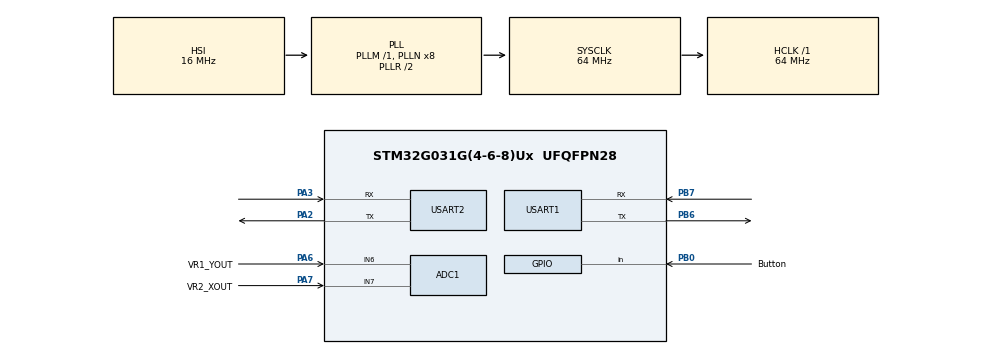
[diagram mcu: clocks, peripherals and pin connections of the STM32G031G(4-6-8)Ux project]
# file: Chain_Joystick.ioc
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ADC1.ContinuousConvMode=ENABLE
ADC1.DMAContinuousRequests=ENABLE
ADC1.NbrOfConversion=1
ADC1.NbrOfConversionFlag=0
ADC1.OversamplingMode=ENABLE
ADC1.Ratio=ADC_OVERSAMPLING_RATIO_256
ADC1.RightBitShift=ADC_RIGHTBITSHIFT_4
ADC1.SamplingTimeCommon1=ADC_SAMPLETIME_160CYCLES_5
ADC1.ScanConvMode=ADC_SCAN_SEQ_FIXED_BACKWARD
ADC1.SelectedChannel=ADC_CHANNEL_6|ADC_CHANNEL_7
ADC1.Sequencer=NOT_FULLY_CONFIGURABLE
ADC1.master=1
Dma.ADC1.4.Direction=DMA_PERIPH_TO_MEMORY
Dma.ADC1.4.EventEnable=DISABLE
Dma.ADC1.4.Instance=DMA1_Channel5
Dma.ADC1.4.MemDataAlignment=DMA_MDATAALIGN_WORD
Dma.ADC1.4.MemInc=DMA_MINC_ENABLE
Dma.ADC1.4.Mode=DMA_CIRCULAR
Dma.ADC1.4.PeriphDataAlignment=DMA_PDATAALIGN_WORD
Dma.ADC1.4.PeriphInc=DMA_PINC_DISABLE
Dma.ADC1.4.Polarity=HAL_DMAMUX_REQ_GEN_RISING
Dma.ADC1.4.Priority=DMA_PRIORITY_MEDIUM
Dma.ADC1.4.RequestNumber=1
Dma.ADC1.4.SignalID=NONE
Dma.ADC1.4.SyncEnable=DISABLE
Dma.ADC1.4.SyncPolarity=HAL_DMAMUX_SYNC_NO_EVENT
Dma.ADC1.4.SyncRequestNumber=1
Dma.ADC1.4.SyncSignalID=NONE
Dma.Request0=USART1_RX
Dma.Request1=USART1_TX
Dma.Request2=USART2_RX
Dma.Request3=USART2_TX
Dma.Request4=ADC1
Dma.USART1_RX.0.Direction=DMA_PERIPH_TO_MEMORY
Dma.USART1_RX.0.EventEnable=DISABLE
Dma.USART1_RX.0.Instance=DMA1_Channel1
Dma.USART1_RX.0.MemDataAlignment=DMA_MDATAALIGN_BYTE
Dma.USART1_RX.0.MemInc=DMA_MINC_ENABLE
Dma.USART1_RX.0.Mode=DMA_NORMAL
Dma.USART1_RX.0.PeriphDataAlignment=DMA_PDATAALIGN_BYTE
Dma.USART1_RX.0.PeriphInc=DMA_PINC_DISABLE
Dma.USART1_RX.0.Polarity=HAL_DMAMUX_REQ_GEN_RISING
Dma.USART1_RX.0.Priority=DMA_PRIORITY_LOW
Dma.USART1_RX.0.RequestNumber=1
Dma.USART1_RX.0.SignalID=NONE
Dma.USART1_RX.0.SyncEnable=DISABLE
Dma.USART1_RX.0.SyncPolarity=HAL_DMAMUX_SYNC_NO_EVENT
Dma.USART1_RX.0.SyncRequestNumber=1
Dma.USART1_RX.0.SyncSignalID=NONE
Dma.USART1_TX.1.Direction=DMA_MEMORY_TO_PERIPH
Dma.USART1_TX.1.EventEnable=DISABLE
Dma.USART1_TX.1.Instance=DMA1_Channel2
Dma.USART1_TX.1.MemDataAlignment=DMA_MDATAALIGN_BYTE
Dma.USART1_TX.1.MemInc=DMA_MINC_ENABLE
Dma.USART1_TX.1.Mode=DMA_NORMAL
Dma.USART1_TX.1.PeriphDataAlignment=DMA_PDATAALIGN_BYTE
Dma.USART1_TX.1.PeriphInc=DMA_PINC_DISABLE
Dma.USART1_TX.1.Polarity=HAL_DMAMUX_REQ_GEN_RISING
Dma.USART1_TX.1.Priority=DMA_PRIORITY_LOW
Dma.USART1_TX.1.RequestNumber=1
Dma.USART1_TX.1.SignalID=NONE
Dma.USART1_TX.1.SyncEnable=DISABLE
Dma.USART1_TX.1.SyncPolarity=HAL_DMAMUX_SYNC_NO_EVENT
Dma.USART1_TX.1.SyncRequestNumber=1
Dma.USART1_TX.1.SyncSignalID=NONE
Dma.USART2_RX.2.Direction=DMA_PERIPH_TO_MEMORY
Dma.USART2_RX.2.EventEnable=DISABLE
Dma.USART2_RX.2.Instance=DMA1_Channel3
Dma.USART2_RX.2.MemDataAlignment=DMA_MDATAALIGN_BYTE
Dma.USART2_RX.2.MemInc=DMA_MINC_ENABLE
Dma.USART2_RX.2.Mode=DMA_NORMAL
Dma.USART2_RX.2.PeriphDataAlignment=DMA_PDATAALIGN_BYTE
Dma.USART2_RX.2.PeriphInc=DMA_PINC_DISABLE
Dma.USART2_RX.2.Polarity=HAL_DMAMUX_REQ_GEN_RISING
Dma.USART2_RX.2.Priority=DMA_PRIORITY_LOW
Dma.USART2_RX.2.RequestNumber=1
Dma.USART2_RX.2.SignalID=NONE
Dma.USART2_RX.2.SyncEnable=DISABLE
Dma.USART2_RX.2.SyncPolarity=HAL_DMAMUX_SYNC_NO_EVENT
Dma.USART2_RX.2.SyncRequestNumber=1
Dma.USART2_RX.2.SyncSignalID=NONE
Dma.USART2_TX.3.Direction=DMA_MEMORY_TO_PERIPH
Dma.USART2_TX.3.EventEnable=DISABLE
Dma.USART2_TX.3.Instance=DMA1_Channel4
Dma.USART2_TX.3.MemDataAlignment=DMA_MDATAALIGN_BYTE
Dma.USART2_TX.3.MemInc=DMA_MINC_ENABLE
Dma.USART2_TX.3.Mode=DMA_NORMAL
Dma.USART2_TX.3.PeriphDataAlignment=DMA_PDATAALIGN_BYTE
Dma.USART2_TX.3.PeriphInc=DMA_PINC_DISABLE
Dma.USART2_TX.3.Polarity=HAL_DMAMUX_REQ_GEN_RISING
Dma.USART2_TX.3.Priority=DMA_PRIORITY_LOW
Dma.USART2_TX.3.RequestNumber=1
Dma.USART2_TX.3.SignalID=NONE
Dma.USART2_TX.3.SyncEnable=DISABLE
Dma.USART2_TX.3.SyncPolarity=HAL_DMAMUX_SYNC_NO_EVENT
Dma.USART2_TX.3.SyncRequestNumber=1
Dma.USART2_TX.3.SyncSignalID=NONE
IWDG.Prescaler=IWDG_PRESCALER_16
Mcu.Family=STM32G0
Mcu.Name=STM32G031G(4-6-8)Ux
Mcu.Package=UFQFPN28
NVIC.DMA1_Ch4_5_DMAMUX1_OVR_IRQn=true\:1\:0\:true\:false\:true\:false\:true\:true
NVIC.DMA1_Channel1_IRQn=true\:1\:0\:true\:false\:true\:false\:true\:true
NVIC.DMA1_Channel2_3_IRQn=true\:1\:0\:true\:false\:true\:false\:true\:true
NVIC.FLASH_IRQn=true\:1\:0\:true\:false\:true\:true\:true\:true
NVIC.TIM14_IRQn=true\:1\:0\:true\:false\:true\:true\:true\:true
NVIC.TIM16_IRQn=true\:1\:0\:true\:false\:true\:true\:true\:true
NVIC.TIM17_IRQn=true\:1\:0\:true\:false\:true\:true\:true\:true
NVIC.USART1_IRQn=true\:0\:0\:false\:false\:true\:false\:true\:true
NVIC.USART2_IRQn=true\:0\:0\:false\:false\:true\:false\:true\:true
PA2.GPIO_PuPd=GPIO_PULLUP
PA2.GPIO_Speed=GPIO_SPEED_FREQ_HIGH
PA2.Mode=Asynchronous
PA2.PinState=GPIO_PIN_RESET
PA2.Signal=USART2_TX
PA3.GPIO_PuPd=GPIO_PULLUP
PA3.GPIO_Speed=GPIO_SPEED_FREQ_HIGH
PA3.Mode=Asynchronous
PA3.PinState=GPIO_PIN_RESET
PA3.Signal=USART2_RX
PA6.GPIO_Label=VR1_YOUT
PA6.Mode=IN6
PA6.Signal=ADC1_IN6
PA7.GPIO_Label=VR2_XOUT
PA7.Mode=IN7
PA7.Signal=ADC1_IN7
PB0.GPIO_Label=Button
PB0.GPIO_PuPd=GPIO_PULLUP
PB0.Signal=GPIO_Input
PB6.GPIO_PuPd=GPIO_PULLUP
PB6.GPIO_Speed=GPIO_SPEED_FREQ_HIGH
PB6.Mode=Asynchronous
PB6.Signal=USART1_TX
PB7.GPIO_PuPd=GPIO_PULLUP
PB7.GPIO_Speed=GPIO_SPEED_FREQ_HIGH
PB7.Mode=Asynchronous
PB7.Signal=USART1_RX
ProjectManager.HeapSize=0x200
ProjectManager.StackSize=0x400
ProjectManager.TargetToolchain=STM32CubeIDE
RCC.ADCFreq_Value=64000000
RCC.AHBFreq_Value=64000000
RCC.CortexFreq_Value=64000000
RCC.EXTERNAL_CLOCK_VALUE=12288000
RCC.HCLKFreq_Value=64000000
RCC.HSE_VALUE=8000000
RCC.HSI_VALUE=16000000
RCC.LSE_VALUE=32768
RCC.PLLQ=RCC_PLLQ_DIV4
RCC.SYSCLKFreq_VALUE=64000000
RCC.SYSCLKSource=RCC_SYSCLKSOURCE_PLLCLK
RCC.VCOOutputFreq_Value=128000000
TIM14.AutoReloadPreload=TIM_AUTORELOAD_PRELOAD_ENABLE
TIM14.Period=1699
TIM14.Prescaler=6399
TIM16.Period=29999
TIM16.Prescaler=6399
TIM17.Period=9999
TIM17.Prescaler=6399
USART1.VirtualMode-Asynchronous=VM_ASYNC
USART2.VirtualMode-Asynchronous=VM_ASYNC
VP_IWDG_VS_IWDG.Mode=IWDG_Activate
VP_TIM14_VS_ClockSourceINT.Mode=Enable_Timer
VP_TIM16_VS_ClockSourceINT.Mode=Enable_Timer
VP_TIM17_VS_ClockSourceINT.Mode=Enable_Timer
board=custom

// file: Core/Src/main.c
/* USER CODE BEGIN Header */
/**
 ******************************************************************************
 * @file           : main.c
 * @brief          : Main program body
 ******************************************************************************
 * @attention
 *
 * Copyright (c) 2024 STMicroelectronics.
 * All rights reserved.
 *
 * This software is licensed under terms that can be found in the LICENSE file
 * in the root directory of this software component.
 * If no LICENSE file comes with this software, it is provided AS-IS.
 *
 ******************************************************************************
 */
/* USER CODE END Header */
#include "main.h"
#include "adc.h"
#include "dma.h"
#include "iwdg.h"
#include "tim.h"
#include "usart.h"
#include "gpio.h"

/* USER CODE BEGIN Includes */
#include "base_function.h"
#include "RGB.h"
#include "myflash.h"
#include "joystick_function.h"
#include "user_button.h"
/* USER CODE END Includes */

/* USER CODE BEGIN PV */
// DMA receive buffers
__IO uint8_t g_uart_in_rx_buf[UART_BUFFER_SIZE][BUFFER_SIZE * 2];   // uart_in receive buffer for DMA
__IO uint8_t g_uart_out_rx_buf[UART_BUFFER_SIZE][BUFFER_SIZE * 2];  // uart_out receive buffer for DMA

// Transmission status for UART
__IO uint8_t g_uart_in_rx_index  = 0;  // Index for UART input (receiving) buffer position
__IO uint8_t g_uart_out_rx_index = 0;  // Index for UART output (receiving) buffer position

// Transmission complete flags for UART
__IO uint8_t g_uart_in_transmit_complete  = 1;  // Flag indicating if uart_in transmission is complete (1: complete)
__IO uint8_t g_uart_out_transmit_complete = 1;  // Flag indicating if uart_out transmission is complete (1: complete)

// Command buffer and related variables
__IO uint8_t g_cmd_buf[BUFFER_SIZE] = {0};                    // Command buffer initialized to zero
__IO uint8_t g_cmd_size             = 0;                      // Size of the command currently in the buffer
__IO uint8_t g_cmd_status           = CMD_SPACE_IDLE_STATUS;  // Status of the command processing

// Device status variables
__IO uint8_t g_tail_status        = CHAIN_TAIL_DEVICE;  // Status of the tail device in the chain
__IO uint8_t g_heart_beat_record  = 0;                  // Heartbeat record for monitoring device status
__IO uint8_t g_bootloader_version = 0;                  // Version of the bootloader
__IO uint8_t g_firmware_version   = SOFTWARE_VERSION;   // Version of the firmware

// Device type information
__IO uint16_t g_device_type =
    (uint8_t)((PRODUCT_TYPE_HIGH << 8) | PRODUCT_TYPE_LOW);  // Combined product type from high and low bytes
__IO uint8_t g_light = 0;                                    // Light status or value

__IO static uint16_t s_adc_map_range_df_value[8] = {5000, 32000, 36000, 64500,
                                                    5000, 30000, 34000, 58500};  // Default values for ADC mapping range

extern __IO uint16_t g_flash_data[12];          // Data read from Flash memory
extern __IO uint16_t g_adc_map_range_value[8];  // Current ADC mapping range values
extern adc_cal_t g_adc_cal_value;               // Structure for storing ADC calibration values

__IO uint8_t g_key_flag = 0;

__IO uint8_t g_uid[12] = {0};  // Unique identifier

/* USER CODE END PV */

void SystemClock_Config(void);

/* USER CODE BEGIN 0 */
/**
 * @brief Set the Interrupt Vector Table for the application in SRAM.
 * @param None
 * @retval None
 */
void iap_set(void)
{
    uint8_t i;                                     // Loop index
    uint32_t *pVecTab = (uint32_t *)(0x20000000);  // Pointer to the vector table in SRAM

    // Copy the interrupt vector table from the application address to SRAM
    for (i = 0; i < 48; i++) {
        // Copy each vector entry to the SRAM vector table
        *(pVecTab++) = *(__IO uint32_t *)(APPLICATION_ADDRESS + (i << 2));
    }

    // Enable the SYSCFG peripheral clock
    __HAL_RCC_SYSCFG_CLK_ENABLE();

    // Remap the memory to use SRAM for the vector table
    __HAL_SYSCFG_REMAPMEMORY_SRAM();
}

/**
 * @brief Initialize the chain device settings.
 * @param None
 * @retval None
 */
void chain_init(void)
{
    // Get the version of the bootloader
    g_bootloader_version = get_bootloader_version();

    // Read data from Flash memory
    read_flash_data();

    // Check the current RGB light status; if it is uninitialized (0xFF)
    if (get_rgb_light() == 0xFF) {
        // Set the RGB light to the default value (RGB_LIGHT_BASE) and save it to
        // the global variable
        g_light = RGB_LIGHT_BASE;
        set_rgb_light(g_light);  // Write the new light status to flash memory
    } else {
        // If the RGB light status is initialized, read the current light status
        // from flash memory
        g_light = get_rgb_light();
    }
    // Check if any value in the last 4 Flash data is valid
    uint8_t valid_data_found = 0;
    for (uint8_t i = 0; i < 4; i++) {
        if (g_flash_data[i + 4] != 0xFFFF) {
            valid_data_found = 1;  // Valid data found
            break;
        }
    }

    // If valid data exists, update mapping range and ADC calibration
    if (valid_data_found) {
        get_map_range(g_adc_map_range_value, sizeof(g_adc_map_range_value));
    } else {
        // If all values are 0xFFFF, use default ADC mapping range values
        memcpy(g_adc_map_range_value, s_adc_map_range_df_value, sizeof(g_adc_map_range_value));
        set_map_range(g_adc_map_range_value, sizeof(g_adc_map_range_value));
    }
    // Update ADC calibration values regardless of the valid data state
    update_adc_cal_value();
}

void read_uid(void)
{
    uint32_t uid0 = HAL_GetUIDw0();
    uint32_t uid1 = HAL_GetUIDw1();
    uint32_t uid2 = HAL_GetUIDw2();

    memcpy(&g_uid[0], &uid0, 4);
    memcpy(&g_uid[4], &uid1, 4);
    memcpy(&g_uid[8], &uid2, 4);
}

/* USER CODE END 0 */

int main(void)
{
    /* USER CODE BEGIN 1 */
    iap_set();
    chain_init();
    read_uid();
    /* USER CODE END 1 */

    /* MCU Configuration--------------------------------------------------------*/

    /* Reset of all peripherals, Initializes the Flash interface and the Systick. */
    HAL_Init();

    /* Configure the system clock */
    SystemClock_Config();

    /* Initialize all configured peripherals */
    MX_GPIO_Init();
    MX_DMA_Init();
    MX_USART1_UART_Init();
    MX_USART2_UART_Init();
    MX_IWDG_Init();
    MX_TIM14_Init();
    MX_TIM16_Init();
    MX_ADC1_Init();
    MX_TIM17_Init();
    /* USER CODE BEGIN 2 */
    rgb_init();
    joystick_init();
    user_button_init();
    HAL_Delay(1);
    LL_TIM_ClearFlag_UPDATE(TIM14);  // Clear update TIM14
    LL_TIM_EnableIT_UPDATE(TIM14);   // ENABLE TIM14
    LL_TIM_EnableCounter(TIM14);     // ENABLE TIM14
    HAL_Delay(1);
    LL_TIM_ClearFlag_UPDATE(TIM17);  // Clear update TIM17
    LL_TIM_EnableIT_UPDATE(TIM17);   // ENABLE TIM17
    LL_TIM_EnableCounter(TIM17);     // ENABLE TIM17
    HAL_Delay(1);
    LL_TIM_ClearFlag_UPDATE(TIM16);  // Clear update TIM16
    LL_TIM_EnableIT_UPDATE(TIM16);   // ENABLE TIM16
    LL_TIM_EnableCounter(TIM16);     // ENABLE TIM16
    HAL_Delay(1);

    /* USER CODE END 2 */

    /* Infinite loop */
    /* USER CODE BEGIN WHILE */
    while (1) {
        if (g_cmd_status == CMD_SPACE_BUSY_STATUS) {
            switch (g_cmd_buf[0]) {
                case CHAIN_JOYSTICK_GET_16ADC:
                    chain_joystick_get_16adc();
                    break;
                case CHAIN_JOYSTICK_GET_8ADC:
                    chain_joystick_get_8adc();
                    break;
                case CHAIN_JOYSTICK_GET_ADC_XY_MAPPED_RANGE:
                    chain_joystick_get_adc_xy_mapped_range();
                    break;
                case CHAIN_JOYSTICK_SET_ADC_XY_MAPPED_RANGE:
                    chain_joystick_set_adc_xy_mapped_range((uint8_t *)(g_cmd_buf + 1), (g_cmd_size - 1));
                    break;
                case CHAIN_JOYSTICK_GET_ADC_XY_MAPPED_INT16_VALUE:
                    chain_joystick_get_adc_xy_mapped_int16_value();
                    break;
                case CHAIN_JOYSTICK_GET_ADC_XY_MAPPED_INT8_VALUE:
                    chain_joystick_get_adc_xy_mapped_int8_value();
                    break;
                case CHAIN_SET_RGB_VALUE:
                    chain_set_rgb_value((uint8_t *)(g_cmd_buf + 1), (g_cmd_size - 1));
                    break;
                case CHAIN_GET_RGB_VALUE:
                    chain_get_rgb_value((uint8_t *)(g_cmd_buf + 1), (g_cmd_size - 1));
                    break;
                case CHAIN_SET_RGB_LIGHT:
                    chain_set_light_value(g_cmd_buf[1], g_cmd_buf[2]);
                    break;
                case CHAIN_GET_RGB_LIGHT:
                    chain_get_light_value();
                    break;
                case CHAIN_BUTTON_GET_STATUS:
                    user_get_button_status();
                    break;
                case CHAIN_BUTTON_SET_TRIGGER_TIMEOUT:
                    user_set_button_trigger_timeout((uint8_t *)g_cmd_buf + 1, g_cmd_size - 1);
                    break;
                case CHAIN_BUTTON_GET_TRIGGER_TIMEOUT:
                    user_get_button_trigger_timeout();
                    break;
                case CHAIN_BUTTON_SET_MODE:
                    user_set_button_mode(g_cmd_buf[1]);
                    break;
                case CHAIN_BUTTON_GET_MODE:
                    user_get_button_mode();
                    break;
                case CHAIN_GET_UID:
                    chain_get_uid_handle(g_cmd_buf[1]);
                    break;
                case CHAIN_GET_BOOTLOADER_VERSION:
                    chain_get_bootloader_version_handle();
                    break;
                case CHAIN_GET_VERSION_DEVICE:
                    chain_get_firmware_version_handle();
                    break;
                case CHAIN_GET_DEVICE_TYPE:
                    chain_get_device_type_handle();
                    break;
                case CHAIN_IAP_UPDATE:
                    chain_iap_update_handle(g_cmd_buf[1]);
                    break;
                default:
                    break;
            }
            g_cmd_status = CMD_SPACE_IDLE_STATUS;
        }
        /* USER CODE END WHILE */

        /* USER CODE BEGIN 3 */
        user_button_scan();
        rgb_update();
        LL_IWDG_ReloadCounter(IWDG);
    }
    /* USER CODE END 3 */
}

void SystemClock_Config(void)
{
    RCC_OscInitTypeDef RCC_OscInitStruct = {0};
    RCC_ClkInitTypeDef RCC_ClkInitStruct = {0};

    /** Configure the main internal regulator output voltage
     */
    HAL_PWREx_ControlVoltageScaling(PWR_REGULATOR_VOLTAGE_SCALE1);

    /** Initializes the RCC Oscillators according to the specified parameters
     * in the RCC_OscInitTypeDef structure.
     */
    RCC_OscInitStruct.OscillatorType      = RCC_OSCILLATORTYPE_HSI | RCC_OSCILLATORTYPE_LSI;
    RCC_OscInitStruct.HSIState            = RCC_HSI_ON;
    RCC_OscInitStruct.HSIDiv              = RCC_HSI_DIV1;
    RCC_OscInitStruct.HSICalibrationValue = RCC_HSICALIBRATION_DEFAULT;
    RCC_OscInitStruct.LSIState            = RCC_LSI_ON;
    RCC_OscInitStruct.PLL.PLLState        = RCC_PLL_ON;
    RCC_OscInitStruct.PLL.PLLSource       = RCC_PLLSOURCE_HSI;
    RCC_OscInitStruct.PLL.PLLM            = RCC_PLLM_DIV1;
    RCC_OscInitStruct.PLL.PLLN            = 8;
    RCC_OscInitStruct.PLL.PLLP            = RCC_PLLP_DIV2;
    RCC_OscInitStruct.PLL.PLLQ            = RCC_PLLQ_DIV4;
    RCC_OscInitStruct.PLL.PLLR            = RCC_PLLR_DIV2;
    if (HAL_RCC_OscConfig(&RCC_OscInitStruct) != HAL_OK) {
        Error_Handler();
    }

    /** Initializes the CPU, AHB and APB buses clocks
     */
    RCC_ClkInitStruct.ClockType      = RCC_CLOCKTYPE_HCLK | RCC_CLOCKTYPE_SYSCLK | RCC_CLOCKTYPE_PCLK1;
    RCC_ClkInitStruct.SYSCLKSource   = RCC_SYSCLKSOURCE_PLLCLK;
    RCC_ClkInitStruct.AHBCLKDivider  = RCC_SYSCLK_DIV1;
    RCC_ClkInitStruct.APB1CLKDivider = RCC_HCLK_DIV1;

    if (HAL_RCC_ClockConfig(&RCC_ClkInitStruct, FLASH_LATENCY_2) != HAL_OK) {
        Error_Handler();
    }
}

void Error_Handler(void)
{
    __disable_irq();
    while (1) {
    }
}

#ifdef USE_FULL_ASSERT
/**
 * @brief  Reports the name of the source file and the source line number
 *         where the assert_param error has occurred.
 * @param  file: pointer to the source file name
 * @param  line: assert_param error line source number
 * @retval None
 */
void assert_failed(uint8_t *file, uint32_t line)
{
    /* USER CODE BEGIN 6 */
    /* User can add his own implementation to report the file name and line
       number,
       ex: printf("Wrong parameters value: file %s on line %d\r\n", file, line) */
    /* USER CODE END 6 */
}
#endif /* USE_FULL_ASSERT */
